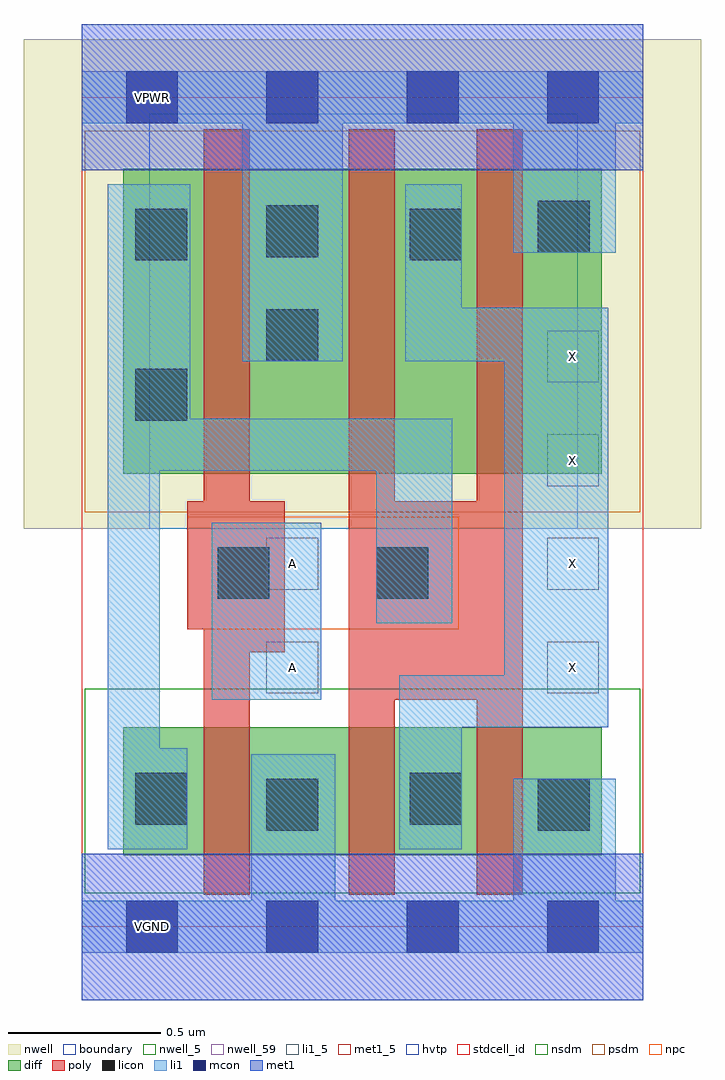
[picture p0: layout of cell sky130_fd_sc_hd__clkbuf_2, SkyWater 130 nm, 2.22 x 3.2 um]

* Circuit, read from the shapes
.subckt sky130_fd_sc_hd__clkbuf_2 A VGND VNB VPB VPWR X
XM1 VGND A n1 VNB sky130_fd_pr__nfet_01v8 w=0.42 l=0.15
XM2 X n1 VGND VNB sky130_fd_pr__nfet_01v8 w=0.42 l=0.15 m=2
XM3 VPWR A n1 VPB sky130_fd_pr__pfet_01v8_hvt w=1 l=0.15
XM4 X n1 VPWR VPB sky130_fd_pr__pfet_01v8_hvt w=1 l=0.15 m=2
.ends

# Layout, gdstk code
import gdstk
lib = gdstk.Library(unit=1e-6, precision=1e-09)
def R(c, l, rs):  # rectangles x0, y0, x1, y1
    for r in rs: c.add(gdstk.rectangle(r[:2], r[2:], *l))
def A(c, l, x, y, w, h, nx, ny, dx, dy):  # array of equal rectangles
    R(c, l, [(x+i*dx, y+j*dy, x+i*dx+w, y+j*dy+h) for i in range(nx) for j in range(ny)])
nwell_5 = (64, 5)
nwell = (64, 20)
nwell_59 = (64, 59)
diff = (65, 20)
poly = (66, 20)
licon = (66, 44)
li1_5 = (67, 5)
li1 = (67, 20)
mcon = (67, 44)
met1_5 = (68, 5)
met1 = (68, 20)
hvtp = (78, 44)
stdcell_id = (81, 4)
nsdm = (93, 44)
psdm = (94, 20)
npc = (95, 20)
boundary = (235, 4)

sky130_fd_sc_hd__clkbuf_ = lib.new_cell('sky130_fd_sc_hd__clkbuf_2')
R(sky130_fd_sc_hd__clkbuf_, nwell_5, [(0.145,2.635,0.315,2.805)])
R(sky130_fd_sc_hd__clkbuf_, nwell, [(-0.19,1.305,2.03,2.91)])
R(sky130_fd_sc_hd__clkbuf_, nwell_59, [(0.145,-0.085,0.315,0.085)])
R(sky130_fd_sc_hd__clkbuf_, diff, [(0.135,0.235,1.705,0.655), (0.135,1.485,1.705,2.485)])
R(sky130_fd_sc_hd__clkbuf_, poly, [(0.4,0.105,0.55,0.9), (0.875,0.105,1.025,0.745), (1.295,0.105,1.445,0.745), (0.875,0.745,1.445,1.395), (0.4,0.9,0.665,0.975), (0.345,0.975,0.665,1.395), (0.4,1.395,0.55,2.615), (0.875,1.395,1.025,2.615), (1.295,1.395,1.445,2.615)])
R(sky130_fd_sc_hd__clkbuf_, licon, [(0.605,0.315,0.775,0.485), (1.495,0.315,1.665,0.485), (0.175,0.335,0.345,0.505), (1.075,0.335,1.245,0.505), (0.445,1.075,0.615,1.245), (0.965,1.075,1.135,1.245), (0.175,1.66,0.345,1.83), (0.605,1.855,0.775,2.025), (0.175,2.185,0.345,2.355), (1.075,2.185,1.245,2.355), (0.605,2.195,0.775,2.365), (1.495,2.21,1.665,2.38)])
A(sky130_fd_sc_hd__clkbuf_, li1_5, 1.525, 0.765, 0.17, 0.17, 1, 4, 0, 0.34)
R(sky130_fd_sc_hd__clkbuf_, li1_5, [(0.605,0.765,0.775,0.935), (0.605,1.105,0.775,1.275)])
R(sky130_fd_sc_hd__clkbuf_, li1, [(0,-0.085,1.84,0.085), (0.555,0.085,0.83,0.565), (1.415,0.085,1.75,0.485), (0.085,0.255,0.345,0.585), (1.04,0.255,1.245,0.655), (0.085,0.585,0.255,1.495), (1.04,0.655,1.725,0.825), (0.425,0.745,0.785,1.325), (1.385,0.825,1.725,1.855), (0.965,0.995,1.215,1.495), (0.085,1.495,1.215,1.665), (0.085,1.665,0.355,2.435), (0.525,1.855,0.855,2.635), (1.06,1.855,1.725,2.03), (1.06,2.03,1.245,2.435), (1.415,2.21,1.75,2.635), (0,2.635,1.84,2.805)])
A(sky130_fd_sc_hd__clkbuf_, mcon, 0.145, -0.085, 0.17, 0.17, 4, 2, 0.46, 2.72)
R(sky130_fd_sc_hd__clkbuf_, met1_5, [(0.145,-0.085,0.315,0.085), (0.145,2.635,0.315,2.805)])
R(sky130_fd_sc_hd__clkbuf_, met1, [(0,-0.24,1.84,0.24), (0,2.48,1.84,2.96)])
R(sky130_fd_sc_hd__clkbuf_, hvtp, [(0.22,1.305,1.625,2.665)])
R(sky130_fd_sc_hd__clkbuf_, stdcell_id, [(0,0,1.84,2.72)])
R(sky130_fd_sc_hd__clkbuf_, nsdm, [(0.01,0.11,1.83,0.78)])
R(sky130_fd_sc_hd__clkbuf_, psdm, [(0.01,1.36,1.83,2.61)])
R(sky130_fd_sc_hd__clkbuf_, npc, [(0.345,0.975,1.235,1.345)])
R(sky130_fd_sc_hd__clkbuf_, boundary, [(0,0,1.84,2.72)])
sky130_fd_sc_hd__clkbuf_.add(gdstk.Label('A', (0.69,0.85), layer=67, texttype=5))
sky130_fd_sc_hd__clkbuf_.add(gdstk.Label('A', (0.69,1.19), layer=67, texttype=5))
sky130_fd_sc_hd__clkbuf_.add(gdstk.Label('X', (1.61,1.19), layer=67, texttype=5))
sky130_fd_sc_hd__clkbuf_.add(gdstk.Label('X', (1.61,0.85), layer=67, texttype=5))
sky130_fd_sc_hd__clkbuf_.add(gdstk.Label('X', (1.61,1.53), layer=67, texttype=5))
sky130_fd_sc_hd__clkbuf_.add(gdstk.Label('X', (1.61,1.87), layer=67, texttype=5))
sky130_fd_sc_hd__clkbuf_.add(gdstk.Label('VGND', (0.23,0), layer=68, texttype=5))
sky130_fd_sc_hd__clkbuf_.add(gdstk.Label('VPWR', (0.23,2.72), layer=68, texttype=5))
sky130_fd_sc_hd__clkbuf_.add(gdstk.Label('VGND', (0.23,0), layer=68, texttype=5))
sky130_fd_sc_hd__clkbuf_.add(gdstk.Label('VPWR', (0.23,2.72), layer=68, texttype=5))
sky130_fd_sc_hd__clkbuf_.add(gdstk.Label('VPB', (0.23,2.72), layer=64, texttype=5))
sky130_fd_sc_hd__clkbuf_.add(gdstk.Label('VNB', (0.23,0), layer=64, texttype=59))

lib.write_gds('sky130_fd_sc_hd__clkbuf_2.gds')
